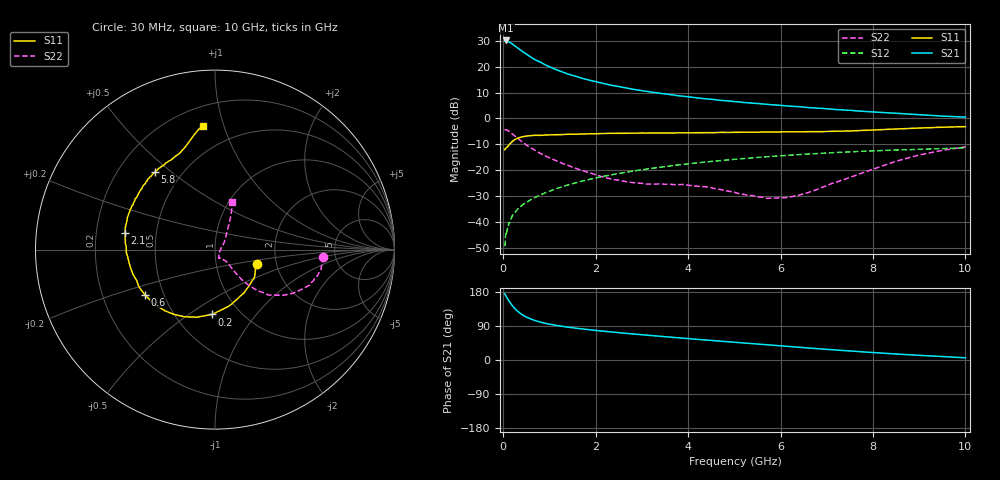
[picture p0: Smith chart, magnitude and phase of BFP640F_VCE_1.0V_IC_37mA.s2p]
! Infineon Technologies  Discrete & RF Semiconductors
! BFP640F
! VCE =  1.0 V,  IC =  37 mA
! Common Emitter S-Parameters:  Apr 2013
# GHz  S  MA  R  50
!  f  S11  S21  S12  S22
! GHz  MAG  ANG  MAG  ANG  MAG  ANG  MAG  ANG
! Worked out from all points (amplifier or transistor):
!   99 points, 30 MHz to 10 GHz, reference 50 ohm
!   highest |S21| = 30.1 dB at 60 MHz (marker M1)
!   |S21| within 3 dB of that: start of sweep to 319.2 MHz
!   unconditionally stable (mu >= 1): start of sweep to 170.6 MHz; 704.4 MHz to end of sweep
!   at 350 MHz: K = 0.88, MSG = 30.6 dB, |S12| = -34.4 dB
!   at 3.5 GHz: K = 1.19, MAG = 11.4 dB, |S12| = -18.6 dB
!   at 10 GHz: K = 1.13, MAG = 3.7 dB, |S12| = -11.4 dB
!   S11 on the Smith chart (normalised r, x): 30 MHz: 1.58, -0.28; 200 MHz: 0.75, -0.62; 600 MHz: 0.39, -0.25; 2.1 GHz: 0.33, +0.08; 5.8 GHz: 0.35, +0.44; 10 GHz: 0.32, +0.86
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0.03  0.2494 -19.4  31.35 175.1  0.0034 42.6  0.6036 -3.8
0.05  0.2606 -31.1  32.05 171.4  0.0055 41.4  0.6034 -7.8
0.06  0.2693 -35.7  32.07 168.9  0.006 65.0  0.5994 -9.3
0.08  0.2775 -46.5  31.73 164.4  0.0067 59.9  0.5935 -12.5
0.12  0.3025 -65.8  30.11 156.5  0.0097 67.2  0.566 -19.1
0.15  0.3258 -77.2  29.17 151.2  0.0104 65.2  0.5436 -23.2
0.2  0.3613 -92.4  27.29 142.7  0.0133 63.7  0.4988 -29.1
0.3  0.411 -114.4  23.43 129.9  0.0171 62.2  0.4211 -37.1
0.35  0.4276 -122.4  21.59 124.8  0.019 61.4  0.3917 -40.3
0.45  0.4478 -134.5  18.72 116.7  0.0225 61.1  0.3346 -43.7
0.6  0.4654 -147.4  15.24 108.0  0.0271 62.6  0.2681 -46.8
0.8  0.4691 -158.3  12.29 100.1  0.0331 63.6  0.2113 -48.4
1  0.4801 -166.6  9.97 94.6  0.0391 64.8  0.1731 -48.6
1.4  0.4943 -177.9  7.197 86.7  0.0517 65.2  0.1239 -47.4
1.7  0.501 175.9  5.984 82.1  0.0613 65.0  0.099 -46.0
2.1  0.5102 169.4  4.873 76.8  0.0738 63.8  0.0765 -50.2
3.4  0.5237 152.4  3.044 62.5  0.114 57.9  0.0544 -64.0
5.1  0.5386 134.6  2.082 45.9  0.1646 47.8  0.0352 -51.6
5.8  0.5476 127.9  1.837 39.3  0.1843 43.3  0.0288 -24.7
6.7  0.5547 118.4  1.604 30.8  0.2072 37.2  0.0398 20.6
8.5  0.6244 102.8  1.258 15.8  0.2448 25.3  0.1489 60.0
10  0.6942 95.4  1.06 5.8  0.2702 17.3  0.2819 70.7
